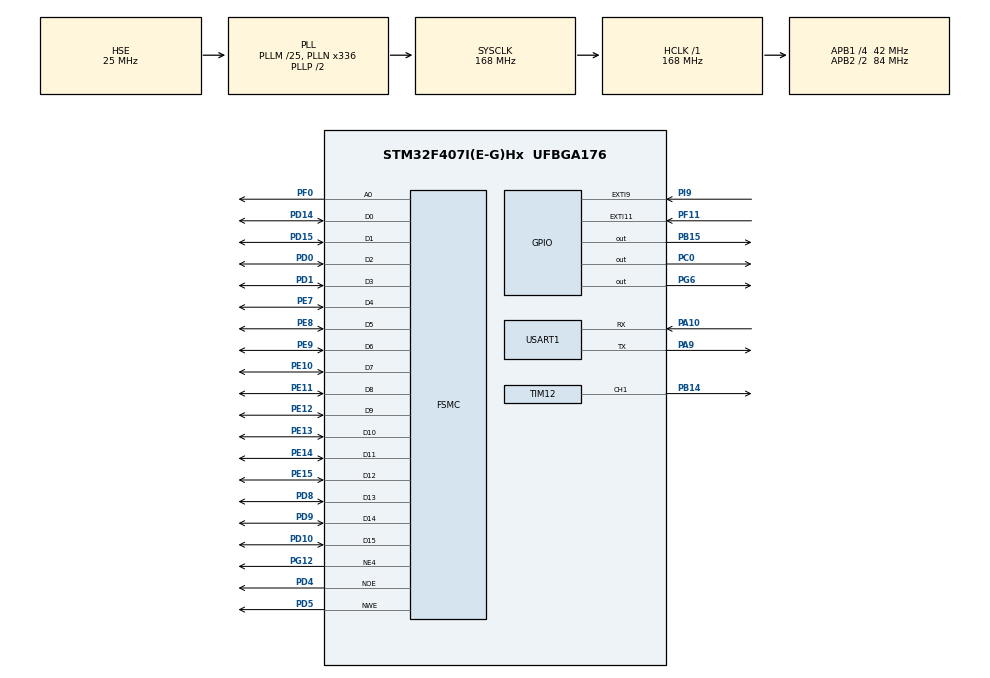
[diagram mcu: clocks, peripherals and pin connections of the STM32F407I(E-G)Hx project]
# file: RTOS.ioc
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FREERTOS.Tasks01=defaultTask,24,128,StartDefaultTask,Default,NULL,Dynamic,NULL,NULL
Mcu.Family=STM32F4
Mcu.Name=STM32F407I(E-G)Hx
Mcu.Package=UFBGA176
NVIC.EXTI15_10_IRQn=true\:5\:0\:false\:false\:true\:true\:true\:true
NVIC.EXTI9_5_IRQn=true\:5\:0\:false\:false\:true\:true\:true\:true
NVIC.PriorityGroup=NVIC_PRIORITYGROUP_4
NVIC.TIM1_UP_TIM10_IRQn=true\:0\:0\:false\:false\:true\:false\:false\:true
NVIC.TimeBase=TIM1_UP_TIM10_IRQn
NVIC.TimeBaseIP=TIM1
NVIC.USART1_IRQn=true\:5\:0\:false\:false\:true\:true\:true\:true
PA10.Mode=Asynchronous
PA10.Signal=USART1_RX
PA9.Mode=Asynchronous
PA9.Signal=USART1_TX
PB14.Signal=S_TIM12_CH1
PB15.Signal=GPIO_Output
PC0.Signal=GPIO_Output
PD0.Signal=FSMC_D2_DA2
PD1.Signal=FSMC_D3_DA3
PD10.Signal=FSMC_D15_DA15
PD14.Signal=FSMC_D0_DA0
PD15.Signal=FSMC_D1_DA1
PD4.Signal=FSMC_NOE
PD5.Signal=FSMC_NWE
PD8.Signal=FSMC_D13_DA13
PD9.Signal=FSMC_D14_DA14
PE10.Signal=FSMC_D7_DA7
PE11.Signal=FSMC_D8_DA8
PE12.Signal=FSMC_D9_DA9
PE13.Signal=FSMC_D10_DA10
PE14.Signal=FSMC_D11_DA11
PE15.Signal=FSMC_D12_DA12
PE7.Signal=FSMC_D4_DA4
PE8.Signal=FSMC_D5_DA5
PE9.Signal=FSMC_D6_DA6
PF0.Signal=FSMC_A0
PF11.Signal=GPXTI11
PG12.Mode=NorPsramChipSelect4_1
PG12.Signal=FSMC_NE4
PG6.Signal=GPIO_Output
PH0-OSC_IN.Mode=HSE-External-Oscillator
PH0-OSC_IN.Signal=RCC_OSC_IN
PH1-OSC_OUT.Mode=HSE-External-Oscillator
PH1-OSC_OUT.Signal=RCC_OSC_OUT
PI9.Signal=GPXTI9
ProjectManager.HeapSize=0x200
ProjectManager.StackSize=0x400
ProjectManager.TargetToolchain=MDK-ARM V5.27
RCC.48MHZClocksFreq_Value=84000000
RCC.AHBFreq_Value=168000000
RCC.APB1CLKDivider=RCC_HCLK_DIV4
RCC.APB1Freq_Value=42000000
RCC.APB1TimFreq_Value=84000000
RCC.APB2CLKDivider=RCC_HCLK_DIV2
RCC.APB2Freq_Value=84000000
RCC.APB2TimFreq_Value=168000000
RCC.CortexFreq_Value=168000000
RCC.HCLKFreq_Value=168000000
RCC.HSE_VALUE=25000000
RCC.HSI_VALUE=16000000
RCC.LSE_VALUE=32768
RCC.PLLM=25
RCC.PLLN=336
RCC.PLLSourceVirtual=RCC_PLLSOURCE_HSE
RCC.SYSCLKFreq_VALUE=168000000
RCC.SYSCLKSource=RCC_SYSCLKSOURCE_PLLCLK
RCC.VCOOutputFreq_Value=336000000
SH.FSMC_A0.0=FSMC_A0,A0_1
SH.FSMC_D0_DA0.0=FSMC_D0,16b-d1
SH.FSMC_D10_DA10.0=FSMC_D10,16b-d1
SH.FSMC_D11_DA11.0=FSMC_D11,16b-d1
SH.FSMC_D12_DA12.0=FSMC_D12,16b-d1
SH.FSMC_D13_DA13.0=FSMC_D13,16b-d1
SH.FSMC_D14_DA14.0=FSMC_D14,16b-d1
SH.FSMC_D15_DA15.0=FSMC_D15,16b-d1
SH.FSMC_D1_DA1.0=FSMC_D1,16b-d1
SH.FSMC_D2_DA2.0=FSMC_D2,16b-d1
SH.FSMC_D3_DA3.0=FSMC_D3,16b-d1
SH.FSMC_D4_DA4.0=FSMC_D4,16b-d1
SH.FSMC_D5_DA5.0=FSMC_D5,16b-d1
SH.FSMC_D6_DA6.0=FSMC_D6,16b-d1
SH.FSMC_D7_DA7.0=FSMC_D7,16b-d1
SH.FSMC_D8_DA8.0=FSMC_D8,16b-d1
SH.FSMC_D9_DA9.0=FSMC_D9,16b-d1
SH.FSMC_NOE.0=FSMC_NOE,Lcd1
SH.FSMC_NWE.0=FSMC_NWE,Lcd1
SH.S_TIM12_CH1.0=TIM12_CH1,PWM Generation1 CH1
TIM12.Channel-PWM\ Generation1\ CH1=TIM_CHANNEL_1
TIM12.Period=20000
TIM12.Prescaler=84-1
USART1.VirtualMode=VM_ASYNC
VP_FREERTOS_VS_CMSIS_V2.Mode=CMSIS_V2
VP_SYS_VS_tim1.Mode=TIM1
VP_TIM12_VS_ClockSourceINT.Mode=Internal
board=custom

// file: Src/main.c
/* USER CODE BEGIN Header */
/**
  ******************************************************************************
  * @file           : main.c
  * @brief          : Main program body
  ******************************************************************************
  * @attention
  *
  * <h2><center>&copy; Copyright (c) 2025 STMicroelectronics.
  * All rights reserved.</center></h2>
  *
  * This software component is licensed by ST under Ultimate Liberty license
  * SLA0044, the "License"; You may not use this file except in compliance with
  * the License. You may obtain a copy of the License at:
  *                             www.st.com/SLA0044
  *
  ******************************************************************************
  */
/* USER CODE END Header */

#include "main.h"
#include "cmsis_os.h"
#include "tim.h"
#include "usart.h"
#include "gpio.h"
#include "fsmc.h"

/* USER CODE BEGIN Includes */
#include "stdio.h"
/* USER CODE END Includes */

/* USER CODE BEGIN PD */
#define BUZZER_PORT     GPIOG
#define BUZZER_PIN      GPIO_PIN_6
#define SYSTEM_CLOCK    168000000UL
/* USER CODE END PD */

void SystemClock_Config(void);
void MX_FREERTOS_Init(void);

int main(void)
{

  /* MCU Configuration--------------------------------------------------------*/

  /* Reset of all peripherals, Initializes the Flash interface and the Systick. */
  HAL_Init();

  /* Configure the system clock */
  SystemClock_Config();

  /* Initialize all configured peripherals */
  MX_GPIO_Init();
  MX_USART1_UART_Init();
  MX_FSMC_Init();
  MX_TIM12_Init();
  /* USER CODE BEGIN 2 */
	HAL_GPIO_WritePin(GPIOC,GPIO_PIN_0,GPIO_PIN_SET);
	HAL_GPIO_WritePin(GPIOB,GPIO_PIN_15,GPIO_PIN_SET);

  /* USER CODE END 2 */

  /* Init scheduler */
  osKernelInitialize();  /* Call init function for freertos objects (in freertos.c) */
  MX_FREERTOS_Init();
  /* Start scheduler */
  osKernelStart();

  /* We should never get here as control is now taken by the scheduler */
  /* Infinite loop */
  while (1)
  {

  }
}

void SystemClock_Config(void)
{
  RCC_OscInitTypeDef RCC_OscInitStruct = {0};
  RCC_ClkInitTypeDef RCC_ClkInitStruct = {0};

  /** Configure the main internal regulator output voltage
  */
  __HAL_RCC_PWR_CLK_ENABLE();
  __HAL_PWR_VOLTAGESCALING_CONFIG(PWR_REGULATOR_VOLTAGE_SCALE1);
  /** Initializes the CPU, AHB and APB busses clocks
  */
  RCC_OscInitStruct.OscillatorType = RCC_OSCILLATORTYPE_HSE;
  RCC_OscInitStruct.HSEState = RCC_HSE_ON;
  RCC_OscInitStruct.PLL.PLLState = RCC_PLL_ON;
  RCC_OscInitStruct.PLL.PLLSource = RCC_PLLSOURCE_HSE;
  RCC_OscInitStruct.PLL.PLLM = 25;
  RCC_OscInitStruct.PLL.PLLN = 336;
  RCC_OscInitStruct.PLL.PLLP = RCC_PLLP_DIV2;
  RCC_OscInitStruct.PLL.PLLQ = 4;
  if (HAL_RCC_OscConfig(&RCC_OscInitStruct) != HAL_OK)
  {
    Error_Handler();
  }
  /** Initializes the CPU, AHB and APB busses clocks
  */
  RCC_ClkInitStruct.ClockType = RCC_CLOCKTYPE_HCLK|RCC_CLOCKTYPE_SYSCLK
                              |RCC_CLOCKTYPE_PCLK1|RCC_CLOCKTYPE_PCLK2;
  RCC_ClkInitStruct.SYSCLKSource = RCC_SYSCLKSOURCE_PLLCLK;
  RCC_ClkInitStruct.AHBCLKDivider = RCC_SYSCLK_DIV1;
  RCC_ClkInitStruct.APB1CLKDivider = RCC_HCLK_DIV4;
  RCC_ClkInitStruct.APB2CLKDivider = RCC_HCLK_DIV2;

  if (HAL_RCC_ClockConfig(&RCC_ClkInitStruct, FLASH_LATENCY_5) != HAL_OK)
  {
    Error_Handler();
  }
}

/* USER CODE BEGIN 4 */

int fputc(int ch, FILE* f)
{
	while((USART1->SR&0x40)==0);
	USART1->DR=(uint8_t)ch;
	return ch;
}

/* USER CODE END 4 */

 /**
  * @brief  Period elapsed callback in non blocking mode
  * @note   This function is called  when TIM1 interrupt took place, inside
  * HAL_TIM_IRQHandler(). It makes a direct call to HAL_IncTick() to increment
  * a global variable "uwTick" used as application time base.
  * @param  htim : TIM handle
  * @retval None
  */
void HAL_TIM_PeriodElapsedCallback(TIM_HandleTypeDef *htim)
{
  if (htim->Instance == TIM1) {
    HAL_IncTick();
  }
}

void Error_Handler(void)
{
}

/************************ (C) COPYRIGHT STMicroelectronics *****END OF FILE****/

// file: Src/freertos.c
/* USER CODE BEGIN Header */
/**
  ******************************************************************************
  * File Name          : freertos.c
  * Description        : Code for freertos applications
  ******************************************************************************
  * @attention
  *
  * <h2><center>&copy; Copyright (c) 2025 STMicroelectronics.
  * All rights reserved.</center></h2>
  *
  * This software component is licensed by ST under Ultimate Liberty license
  * SLA0044, the "License"; You may not use this file except in compliance with
  * the License. You may obtain a copy of the License at:
  *                             www.st.com/SLA0044
  *
  ******************************************************************************
  */
/* USER CODE END Header */

#include "FreeRTOS.h"
#include "task.h"
#include "main.h"
#include "cmsis_os.h"
#include "cmsis_os2.h"
#include "tim.h"
/* USER CODE BEGIN Includes */
#include "lcd.h"
#include "lcd_touch.h"
#include "piano.h"
#include "buzzer.h"
#include "gpio.h"

#include <stdio.h>
/* USER CODE END Includes */

/* USER CODE BEGIN PD */
#define ENABLE_PRINT_TASK 0

#define KEY_MARGIN_LEFT    56
#define KEY_MARGIN_RIGHT   56
#define KEY_MARGIN_TOP     80
#define KEY_MARGIN_BOTTOM  80
#define WHITE_KEY_W        86
#define WHITE_KEY_H        320
#define BLACK_KEY_W        54
#define BLACK_KEY_H        244

// 音符频率（Hz）
#define NOTE_C4   262
#define NOTE_CS4  277
#define NOTE_D4   294
#define NOTE_DS4  311
#define NOTE_E4   330
#define NOTE_F4   349
#define NOTE_FS4  370
#define NOTE_G4   392
#define NOTE_GS4  415
#define NOTE_A4   440
#define NOTE_AS4  466
#define NOTE_B4   494
#define NOTE_C5   523

// 新增：舵机脉宽范围（微秒）
#define SERVO_MIN_US     600
#define SERVO_MAX_US     2400
#define SERVO_CENTER_US  1500
/* USER CODE END PD */

/* USER CODE BEGIN Variables */

static volatile uint16_t g_current_freq = 0; // 当前发声频率，0 表示静音
// UI 初始化完成信号量：用于确保触摸任务在 LCD 方向/分辨率就绪后再初始化触摸芯片
static osSemaphoreId_t uiReadySem = NULL;
// UI 就绪标志：用于让多个任务感知 UI 已完成初始化（信号量只能被一个任务获取）
static volatile uint8_t g_ui_ready = 0;
// 音乐播放控制：使用线程标志触发（ISR 安全）与播放状态
static osThreadId_t musicTaskHandle = NULL;
static volatile uint8_t g_music_playing = 0;
/* USER CODE END Variables */
/* Definitions for defaultTask */
osThreadId_t defaultTaskHandle;
const osThreadAttr_t defaultTask_attributes = {
  .name = "defaultTask",
  .priority = (osPriority_t) osPriorityNormal,
  .stack_size = 128 * 4
};

/* USER CODE BEGIN FunctionPrototypes */
static void UITask(void *argument);
static void TouchTask(void *argument);
static void BuzzerTask(void *argument);
static void LEDTask(void *argument);
static void PrintTask(void *argument);
static uint16_t map_touch_to_freq(uint16_t x, uint16_t y);
static inline uint8_t in_range(int32_t v, int32_t a, int32_t b) { return (v >= a) && (v < b); }
static void ServoTask(void *argument);
static uint16_t map_freq_to_servo_pulse(uint16_t f);
static uint16_t map_freq_to_led_period(uint16_t f);
static void MusicTask(void *argument);
enum { MUSIC_FLAG_PLAY = 0x01 };
void HAL_GPIO_EXTI_Callback(uint16_t GPIO_Pin);
/* USER CODE END FunctionPrototypes */

void StartDefaultTask(void *argument);

void MX_FREERTOS_Init(void); /* (MISRA C 2004 rule 8.1) */

void MX_FREERTOS_Init(void) {

  /* Create the thread(s) */
  /* creation of defaultTask */
  defaultTaskHandle = osThreadNew(StartDefaultTask, NULL, &defaultTask_attributes);

  /* USER CODE BEGIN RTOS_THREADS */
  /* add threads, ... */
  // 创建用于启动顺序协调的二值信号量（初始为0，UI完成后释放）
  uiReadySem = osSemaphoreNew(1, 0, NULL);
  // UI 任务：初始化 LCD 并显示钢琴图
  const osThreadAttr_t uiTask_attributes = {
    .name = "uiTask",
    .priority = (osPriority_t) osPriorityAboveNormal,
    .stack_size = 512
  };
  (void)osThreadNew(UITask, NULL, &uiTask_attributes);

  // 触摸扫描任务：读取坐标并更新频率
  const osThreadAttr_t touchTask_attributes = {
    .name = "touchTask",
    .priority = (osPriority_t) osPriorityNormal,
    .stack_size = 512
  };
  (void)osThreadNew(TouchTask, NULL, &touchTask_attributes);

  // 蜂鸣器任务：根据当前频率发声
  const osThreadAttr_t buzzerTask_attributes = {
    .name = "buzzerTask",
    .priority = (osPriority_t) osPriorityBelowNormal,
    .stack_size = 256
  };
  (void)osThreadNew(BuzzerTask, NULL, &buzzerTask_attributes);

  // LED 指示任务
  const osThreadAttr_t ledTask_attributes = {
    .name = "LED",
    .priority = (osPriority_t) osPriorityHigh,
    .stack_size = 128
  };
  (void)osThreadNew(LEDTask, NULL, &ledTask_attributes);

  // 新增：舵机任务（读取当前音高 -> 角度 -> PWM 脉宽）
  const osThreadAttr_t servoTask_attributes = {
    .name = "Servo",
    .priority = (osPriority_t) osPriorityNormal,
    .stack_size = 256
  };
  (void)osThreadNew(ServoTask, NULL, &servoTask_attributes);

  // 示例音乐任务：等待按键信号后播放一段旋律
  const osThreadAttr_t musicTask_attributes = {
    .name = "Music",
    .priority = (osPriority_t) osPriorityAboveNormal, // 高于触摸与蜂鸣器，便于稳定推进乐谱
    .stack_size = 512
  };
  musicTaskHandle = osThreadNew(MusicTask, NULL, &musicTask_attributes);

  // 串口打印任务
  #if ENABLE_PRINT_TASK
  const osThreadAttr_t printTask_attributes = {
    .name = "Print",
    .priority = (osPriority_t) osPriorityLow,
    .stack_size = 128
  };
  (void)osThreadNew(PrintTask, NULL, &printTask_attributes);
  #endif
  /* USER CODE END RTOS_THREADS */

}

void StartDefaultTask(void *argument)
{
  for(;;)
  {
    osDelay(1);
  }
}

// UI 任务：初始化延时与 LCD，并绘制钢琴整图
static void UITask(void *argument)
{
  // 延时与 LCD 初始化（与 FSMC 显示配合）
  // 注意：在 FreeRTOS 中不要调用会重配置 SysTick 的 delay_init，
  // 否则可能破坏内核节拍导致系统无响应。
  // delay_init(168);
  LCD_Init();
  if (uiReadySem) {
    osSemaphoreRelease(uiReadySem);
  }
  // 置 UI 就绪标志，并确保 LED 熄灭
  g_ui_ready = 1;
  HAL_GPIO_WritePin(GPIOC, GPIO_PIN_0, GPIO_PIN_SET);
  HAL_GPIO_WritePin(GPIOB, GPIO_PIN_15, GPIO_PIN_SET);
  LCD_Clear(BLACK);
  // 全屏显示钢琴图（piano.h 的前 6 字节包含 800x480 信息）
  LCD_DrawPicture(0, 0, 800, 480, (uint8_t*)gImage_piano);

  // 可选：提示文字
  LCD_ShowString(10, 10, 300, 24, 16, (uint8_t*)"Piano Ready");

  for(;;)
  {
    osDelay(1000);
  }
}

static uint16_t map_touch_to_freq(uint16_t x, uint16_t y)
{
  const int32_t key_top = KEY_MARGIN_TOP;
  const int32_t white_bottom = KEY_MARGIN_TOP + WHITE_KEY_H;   // 到 400
  const int32_t black_bottom = KEY_MARGIN_TOP + BLACK_KEY_H;   // 到 324

  // 黑键优先
  if (in_range((int32_t)y, key_top, black_bottom))
  {
    const uint8_t black_boundaries[5] = {1, 2, 4, 5, 6};
    for (uint8_t i = 0; i < 5; ++i)
    {
      int32_t b = black_boundaries[i];
      int32_t boundary_x = KEY_MARGIN_LEFT + b * WHITE_KEY_W;
      int32_t half_bw = BLACK_KEY_W / 2;
      if (in_range((int32_t)x, boundary_x - half_bw, boundary_x + half_bw))
      {
        switch (b)
        {
          case 1: return NOTE_CS4; // C#4
          case 2: return NOTE_DS4; // D#4
          case 4: return NOTE_FS4; // F#4
          case 5: return NOTE_GS4; // G#4
          case 6: return NOTE_AS4; // A#4
          default: break;
        }
      }
    }
  }

  // 白键区域
  if (in_range((int32_t)y, key_top, white_bottom))
  {
    int32_t x0 = KEY_MARGIN_LEFT;
    int32_t x1 = SSD_HOR_RESOLUTION - KEY_MARGIN_RIGHT; // 800 - 56 = 744
    if (in_range((int32_t)x, x0, x1))
    {
      uint8_t idx = (uint8_t)(((int32_t)x - x0) / WHITE_KEY_W); // 0..7
      switch (idx)
      {
        case 0: return NOTE_C4;
        case 1: return NOTE_D4;
        case 2: return NOTE_E4;
        case 3: return NOTE_F4;
        case 4: return NOTE_G4;
        case 5: return NOTE_A4;
        case 6: return NOTE_B4;
        case 7: return NOTE_C5;
        default: break;
      }
    }
  }
  return 0; // 未命中键区
}

// 触摸扫描任务：读取坐标并更新当前频率
static void TouchTask(void *argument)
{
  if (uiReadySem) {
    (void)osSemaphoreAcquire(uiReadySem, osWaitForever);
  }
  TP_Init();
  for(;;)
  {
    Touch_Scan(0); // 更新 tp_dev
    if (g_music_playing)
    {
      // 播放示例音乐期间，不接受触摸改频，避免打断旋律
    }
    else if (tp_dev.sta & TP_PRES_DOWN)
    {
      uint16_t x = tp_dev.x[0];
      uint16_t y = tp_dev.y[0];
      g_current_freq = map_touch_to_freq(x, y);
    }
    else
    {
      g_current_freq = 0; // 无触控静音
    }
    osDelay(15); // ~66Hz 扫描
  }
}

// 蜂鸣器任务：根据当前频率输出波形（PG6）
static void BuzzerTask(void *argument)
{
  for(;;)
  {
    uint16_t f = g_current_freq;
    if (f == 0)
    {
      HAL_GPIO_WritePin(BUZZER_PORT, BUZZER_PIN, GPIO_PIN_RESET);
      osDelay(10);
    }
    else
    {
      // 播放一个很短的音频片段（20ms），随后让出 CPU
      buzzer_beep(f, 20);
      osDelay(1);
    }
  }
}

// LED 指示任务：轮流点亮/熄灭两个 LED（PC0 与 PB15）
static void LEDTask(void *argument)
{
  // 等待 UI 初始化完成后，先熄灭 LED
  while (!g_ui_ready) { osDelay(10); }
  HAL_GPIO_WritePin(GPIOC, GPIO_PIN_0, GPIO_PIN_SET);
  HAL_GPIO_WritePin(GPIOB, GPIO_PIN_15, GPIO_PIN_SET);

  uint8_t led_on = 0;
  for(;;)
  {
    uint16_t f = g_current_freq;
    if (f == 0)
    {
      // 无按键：保持熄灭
      HAL_GPIO_WritePin(GPIOC, GPIO_PIN_0, GPIO_PIN_SET);
      HAL_GPIO_WritePin(GPIOB, GPIO_PIN_15, GPIO_PIN_SET);
      led_on = 0;
      osDelay(30);
      continue;
    }

    // 有按键：按音高映射后的节奏律动亮灭（双灯同闪）
    uint16_t period_ms = map_freq_to_led_period(f);
    uint16_t half = period_ms / 2;
    if (!led_on) {
      HAL_GPIO_WritePin(GPIOC, GPIO_PIN_0, GPIO_PIN_RESET);
      HAL_GPIO_WritePin(GPIOB, GPIO_PIN_15, GPIO_PIN_RESET);
      led_on = 1;
      osDelay(half);
    } else {
      HAL_GPIO_WritePin(GPIOC, GPIO_PIN_0, GPIO_PIN_SET);
      HAL_GPIO_WritePin(GPIOB, GPIO_PIN_15, GPIO_PIN_SET);
      led_on = 0;
      osDelay(half);
    }
  }
}

// 串口打印任务：周期性打印提示
static void PrintTask(void *argument)
{
  for(;;)
  {
    printf("Enjoy Music\n");
    osDelay(2000);
  }
}

// 将频率映射为舵机 PWM 脉宽（us）
static uint16_t map_freq_to_servo_pulse(uint16_t f)
{
  if (f == 0) {
    return SERVO_CENTER_US; // 无触控时居中
  }
  if (f < NOTE_C4) f = NOTE_C4;
  if (f > NOTE_C5) f = NOTE_C5;

  // 线性映射 C4..C5 -> 0..1 -> 600..2400us
  uint32_t num = (uint32_t)(f - NOTE_C4);
  uint32_t den = (uint32_t)(NOTE_C5 - NOTE_C4);
  uint32_t us  = SERVO_MIN_US + ((uint32_t)(SERVO_MAX_US - SERVO_MIN_US) * num) / den;

  if (us < SERVO_MIN_US) us = SERVO_MIN_US;
  if (us > SERVO_MAX_US) us = SERVO_MAX_US;
  return (uint16_t)us;
}

static void ServoTask(void *argument)
{
  // 启动 PWM（只需一次）
  HAL_TIM_PWM_Start(&htim12, TIM_CHANNEL_1);

  // 初始置中
  __HAL_TIM_SetCompare(&htim12, TIM_CHANNEL_1, SERVO_CENTER_US);

  uint16_t last_ccr = 0xFFFF;

  for(;;)
  {
    uint16_t f = g_current_freq;                       // 当前音高频率
    uint16_t ccr = map_freq_to_servo_pulse(f);         // 频率 -> 脉宽(us)

    // 只有变化时才更新，减少抖动
    if (ccr != last_ccr) {
      __HAL_TIM_SetCompare(&htim12, TIM_CHANNEL_1, ccr);
      last_ccr = ccr;
    }

    // 舵机典型周期 20ms，更新频率无需过高
    osDelay(20);
  }
}

// 示例音乐任务：等待按键触发，按乐谱设置当前频率
static void MusicTask(void *argument)
{
  typedef struct { uint16_t f; uint16_t ms; } Note;
  // 选取简单、悦耳的示例旋律（包含停顿0Hz）
  static const Note score[] = {
    {262, 300}, {294, 300}, {330, 300}, {349, 300}, {392, 400}, {0, 150},
    {392, 200}, {349, 200}, {330, 300}, {294, 300}, {262, 600}, {0, 300},
    // 段落2
    {330, 300}, {349, 300}, {392, 300}, {392, 300}, {349, 300}, {330, 300}, {294, 600}, {0, 300},
    // 结尾
    {262, 300}, {262, 300}, {262, 300}, {294, 300}, {294, 300}, {294, 300}, {262, 700}
  };
  const size_t score_len = sizeof(score)/sizeof(score[0]);

  for(;;)
  {
  // 等待按键中断发出的播放信号（线程标志，ISR 安全）
  (void)osThreadFlagsWait(MUSIC_FLAG_PLAY, osFlagsWaitAny, osWaitForever);

    // 若已在播放则忽略本次触发
    if (g_music_playing) { continue; }
    g_music_playing = 1;

    // 逐音符播放：通过共享的 g_current_freq 让蜂鸣器/LED/舵机联动
    for (size_t i = 0; i < score_len; ++i)
    {
      g_current_freq = score[i].f;    // 0 表示停顿
      osDelay(score[i].ms);
    }
    // 收尾：复位频率，清除播放标志
    g_current_freq = 0;
    g_music_playing = 0;
  }
}

// EXTI 按键回调：按下后触发音乐播放
void HAL_GPIO_EXTI_Callback(uint16_t GPIO_Pin)
{
  // 参照默认使用 PA0（KEY/USER 按键）。如需更换请修改 gpio.c 中的引脚配置与此处判断。
  if (GPIO_Pin == GPIO_PIN_9)
  {
    // 防抖：简单判定 UI 已就绪；播放中则忽略
    if (!g_ui_ready) return;
    if (g_music_playing) return;
    // 设置线程标志启动音乐
    if (musicTaskHandle) {
      (void)osThreadFlagsSet(musicTaskHandle, MUSIC_FLAG_PLAY);
    }
  }
	else if (GPIO_Pin == GPIO_PIN_11)
  {
    // 防抖：简单判定 UI 已就绪；播放中则忽略
    if (!g_ui_ready) return;
    if (!g_music_playing) return;
    if (musicTaskHandle) {
      (void)osThreadFlagsSet(musicTaskHandle, MUSIC_FLAG_PLAY);
    }
  }
}

// 将频率映射为 LED 闪烁周期（ms），音高越高闪烁越快（可见范围内）
static uint16_t map_freq_to_led_period(uint16_t f)
{
  if (f == 0) return 0;
  if (f < NOTE_C4) f = NOTE_C4;
  if (f > NOTE_C5) f = NOTE_C5;

  const uint16_t max_ms = 600; // 低音：慢
  const uint16_t min_ms = 180; // 高音：快（但仍可见）
  uint32_t num = (uint32_t)(f - NOTE_C4);
  uint32_t den = (uint32_t)(NOTE_C5 - NOTE_C4);
  uint32_t period = max_ms - ((uint32_t)(max_ms - min_ms) * num) / den;
  if (period < min_ms) period = min_ms;
  if (period > max_ms) period = max_ms;
  return (uint16_t)period;
}
/************************ (C) COPYRIGHT STMicroelectronics *****END OF FILE****/
